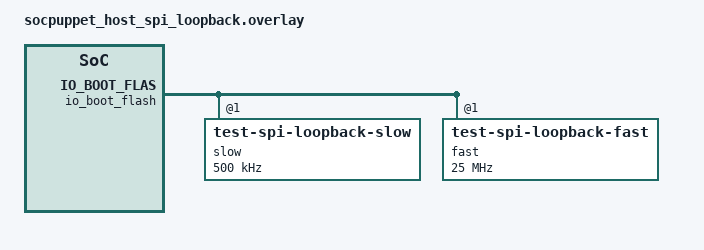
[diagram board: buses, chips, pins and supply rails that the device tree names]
&io_boot_flash {
	slow@1 {
		compatible = "test-spi-loopback-slow";
		reg = <1>;
		spi-max-frequency = <500000>;
	};

	fast@1 {
		compatible = "test-spi-loopback-fast";
		reg = <1>;
		spi-max-frequency = <25000000>;
	};
};
